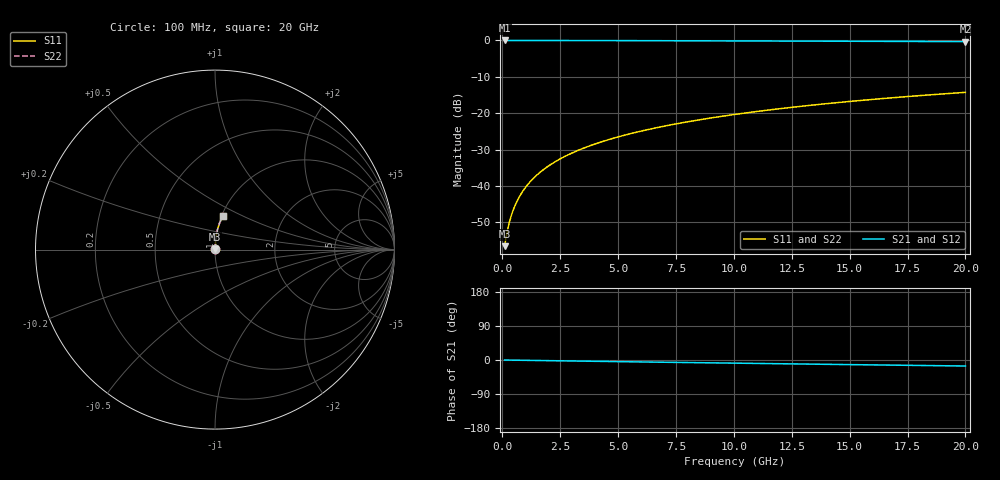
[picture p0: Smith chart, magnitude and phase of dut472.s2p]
! Touchstone file exported from HFSS 2024.1.0
!  File:  C:/UserFiles/LocalFiles/RDL_TSV_Batchsim/temp_RDL_top_472_1779678002.aedt
!  Generated:  11:01:53 AM May 25, 2026
!  Design:  RDL_top
!  Project:  temp_RDL_top_472_1779678002
!  Setup:  Setup1
!  Solution:  Sweep
! Variables:
!  dtsv = 10.80580581um
!  hbump = 3um
!  htsv = 99.78um
!  ldown = 100um
!  lrdl = 184.99um
!  p = 40
!  p1 = 45.92um
!  rhole = 1um
!  t = 450um
!  tdown = 3.915915916um
!  trdl = 4.52um
!  wdown = 15.38538539um
!  wrdl = 14.72um
# GHz S MA R 50.000000
! Terminal data exported
! Port[1] = Box2_T1
! Port[2] = Box2_T2
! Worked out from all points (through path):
!   200 points, 100 MHz to 20 GHz, reference 50 ohm
!   highest |S21| = -0.01 dB at 100 MHz (marker M1); lowest = -0.3 dB at 20 GHz (marker M2)
!   group delay of S21, straight-line fit = 2.19 ps
!   lowest |S11| = -56.5 dB at 100 MHz (marker M3), VSWR 1.00, Z = 50.1 + j0.0988 ohm
!   |S11| at or under -10 dB: start of sweep to end of sweep
!   |S22| runs from -56.5 to -14.3 dB; largest |S21 - S12| = 2e-15
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0.1  0.001489 41.4  0.9989 -0.1  0.9989 -0.1  0.001489 41.4
! Gamma 0 0 0 0
! Port Impedance 50 0 50 0
0.2  0.002267 59.6  0.9988 -0.2  0.9988 -0.2  0.002267 59.6
0.3  0.003138 67.8  0.9988 -0.3  0.9988 -0.3  0.003138 67.8
0.4  0.004033 72.4  0.9988 -0.4  0.9988 -0.4  0.004033 72.4
0.5  0.004938 75.4  0.9987 -0.4  0.9987 -0.4  0.004938 75.4
0.6  0.00585 77.5  0.9987 -0.5  0.9987 -0.5  0.00585 77.5
0.8  0.007687 80.2  0.9986 -0.7  0.9986 -0.7  0.007687 80.2
1.1  0.01047 82.5  0.9985 -1.0  0.9985 -1.0  0.01047 82.5
1.5  0.01419 84.1  0.9982 -1.3  0.9982 -1.3  0.01419 84.1
1.8  0.017 84.8  0.998 -1.6  0.998 -1.6  0.017 84.8
2.1  0.01981 85.3  0.9978 -1.8  0.9978 -1.8  0.01981 85.3
2.7  0.02544 85.8  0.9972 -2.4  0.9972 -2.4  0.02544 85.8
3.5  0.03298 86.1  0.9963 -3.0  0.9963 -3.0  0.03298 86.1
4.2  0.03961 86.2  0.9953 -3.6  0.9953 -3.6  0.03961 86.1
5  0.04722 86.1  0.9941 -4.3  0.9941 -4.3  0.04722 86.1
5.9  0.05584 85.8  0.9926 -5.1  0.9926 -5.1  0.05584 85.8
6.8  0.06451 85.5  0.991 -5.8  0.991 -5.8  0.06451 85.5
8.3  0.0791 84.8  0.9882 -7.0  0.9882 -7.0  0.0791 84.8
10.1  0.09677 83.8  0.9846 -8.4  0.9846 -8.4  0.09677 83.8
13.4  0.1293 81.6  0.9777 -11.0  0.9777 -11.0  0.1293 81.6
16.7  0.1617 79.2  0.9703 -13.4  0.9703 -13.4  0.1616 79.2
20  0.1934 76.6  0.9626 -15.9  0.9626 -15.9  0.1934 76.6
